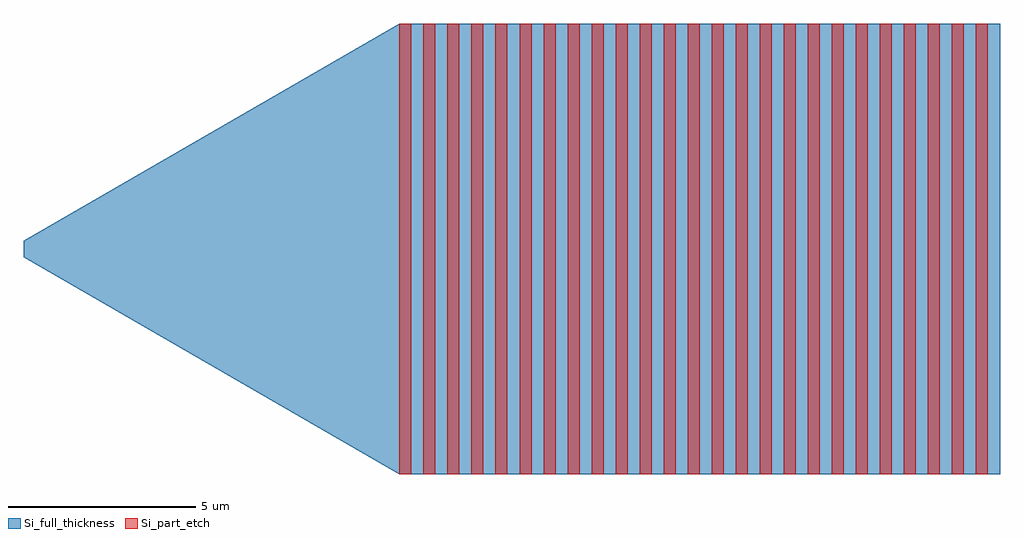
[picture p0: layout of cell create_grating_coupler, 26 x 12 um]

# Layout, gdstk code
import gdstk
lib = gdstk.Library(unit=1e-6, precision=1e-09)
def R(c, l, rs):  # rectangles x0, y0, x1, y1
    for r in rs: c.add(gdstk.rectangle(r[:2], r[2:], *l))
def A(c, l, x, y, w, h, nx, ny, dx, dy):  # array of equal rectangles
    R(c, l, [(x+i*dx, y+j*dy, x+i*dx+w, y+j*dy+h) for i in range(nx) for j in range(ny)])
def P(c, l, *ps):  # polygons
    for p in ps: c.add(gdstk.Polygon(p, *l))
Si_full_thickness = (1, 0)
Si_part_etch = (2, 0)

create_grating_coupler = lib.new_cell('create_grating_coupler')
R(create_grating_coupler, Si_full_thickness, [(10,-6,26,6)])
P(create_grating_coupler, Si_full_thickness, [(10,-6),(0,-0.225),(0,0.225),(10,6)])
A(create_grating_coupler, Si_part_etch, 10, -6, 0.32, 12, 25, 1, 0.64, 0)

lib.write_gds('create_grating_coupler.gds')
